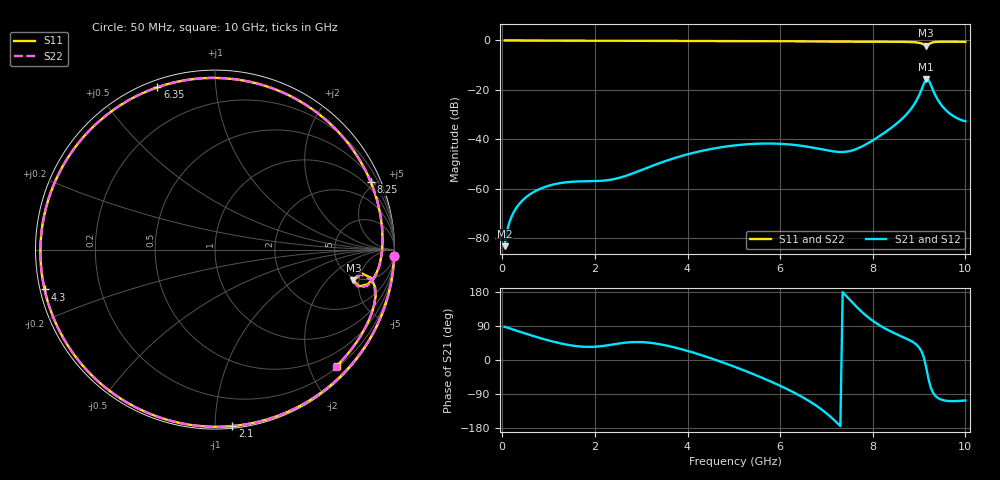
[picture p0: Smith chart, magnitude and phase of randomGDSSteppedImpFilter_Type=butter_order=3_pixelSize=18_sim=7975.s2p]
! freq	dB(S11)	phase(S11)	dB(S12)	phase(S12)
!  dB(S21)	phase(S21)	dB(S22)	phase(S22)
!S-par simulation data
#  GHz  S  DB  R 50
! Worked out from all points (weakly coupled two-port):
!   200 points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, 50 MHz to 10 GHz, reference 50 ohm
!   highest |S21| = -15.74 dB at 9.15 GHz (marker M1); lowest = -83.1 dB at 50 MHz (marker M2)
!   lowest |S11| = -2.1 dB at 9.15 GHz (marker M3), VSWR 8.49, Z = 231 - j209 ohm
!   |S11| at or under -10 dB: nowhere
!   |S22| runs from -2.0 to 0.0 dB; largest |S21 - S12| = 0
!   S11 on the Smith chart (normalised r, x): 50 MHz: 1, -54; 2.1 GHz: 0.01, -1.10; 4.3 GHz: 0.01, -0.12; 6.35 GHz: 0.03, +0.71; 8.25 GHz: 0.66, +4.71; 10 GHz: 0.23, -2.48
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0.05  -0.01 -2.1  -83.11 87.7  -83.11 87.7  -0.01 -2.1
0.25  -0.01 -10.4  -69.27 79.7  -69.27 79.7  -0.01 -10.4
0.55  -0.03 -22.8  -62.80 67.8  -62.80 67.8  -0.03 -22.8
1.05  -0.05 -43.1  -58.43 50.0  -58.43 50.0  -0.05 -43.2
1.75  -0.09 -70.9  -56.90 35.0  -56.90 35.0  -0.09 -70.9
2.1  -0.10 -84.4  -56.74 36.0  -56.74 36.0  -0.10 -84.5
2.75  -0.13 -109.0  -54.18 46.8  -54.18 46.8  -0.13 -109.1
3.4  -0.17 -133.2  -49.53 41.6  -49.53 41.6  -0.17 -133.3
4.3  -0.22 -166.9  -44.64 12.8  -44.64 12.8  -0.22 -167.0
5.05  -0.27 164.1  -42.34 -19.5  -42.34 -19.5  -0.27 163.9
5.65  -0.31 139.6  -41.65 -49.0  -41.65 -49.0  -0.31 139.4
6.35  -0.36 109.5  -42.30 -89.2  -42.30 -89.2  -0.36 109.2
6.7  -0.38 93.9  -43.29 -114.0  -43.29 -114.0  -0.38 93.6
7.5  -0.43 57.4  -44.70 159.4  -44.70 159.4  -0.43 57.0
8.25  -0.48 23.5  -37.31 84.2  -37.31 84.2  -0.48 23.0
8.35  -0.50 19.1  -35.99 77.7  -35.99 77.7  -0.50 18.6
8.85  -0.68 -3.3  -27.05 48.6  -27.05 48.6  -0.67 -3.8
9.15  -2.05 -12.4  -15.74 -17.2  -15.74 -17.2  -2.04 -13.0
9.2  -1.71 -9.1  -15.84 -48.2  -15.84 -48.2  -1.70 -9.6
9.3  -0.75 -13.3  -20.08 -86.1  -20.08 -86.1  -0.74 -13.9
9.55  -0.50 -26.1  -27.62 -106.8  -27.62 -106.8  -0.50 -26.6
10  -0.56 -43.6  -32.67 -106.8  -32.67 -106.8  -0.56 -44.2
